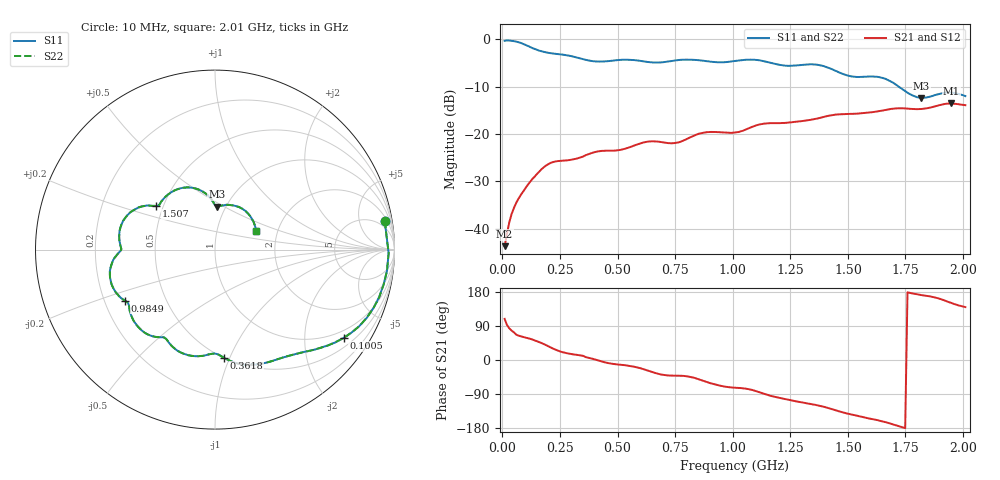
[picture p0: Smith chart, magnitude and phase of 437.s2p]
# MHz S MA R 50
!  freq  S11  S21  S12  S22
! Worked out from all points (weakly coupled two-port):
!   200 points, 10 MHz to 2.01 GHz, reference 50 ohm
!   highest |S21| = -13.57 dB at 1.95 GHz (marker M1); lowest = -43.7 dB at 10 MHz (marker M2)
!   lowest |S11| = -12.4 dB at 1.819 GHz (marker M3), VSWR 1.63, Z = 45.4 + j23.1 ohm
!   |S11| at or under -10 dB: 1.72 GHz to end of sweep
!   |S22| runs from -12.4 to -0.3 dB; largest |S21 - S12| = 0.0012
!   S11 on the Smith chart (normalised r, x): 10 MHz: 3, +11; 100.5 MHz: 0.76, -3.05; 361.8 MHz: 0.50, -0.95; 984.9 MHz: 0.28, -0.24; 1.507 GHz: 0.46, +0.27; 2.01 GHz: 1.54, +0.35
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10  0.9589 9.4  0.00656 108.6  0.00659 108.3  0.9587 9.4
20.05025  0.9674 -1.1  0.00882 92.7  0.00881 93.0  0.9677 -1.1
40.15075  0.9592 -11.8  0.01427 77.7  0.01425 77.6  0.9594 -11.8
100.4523  0.8689 -34.5  0.02681 59.2  0.02685 59.3  0.8699 -34.5
200.9548  0.7156 -56.3  0.04824 35.8  0.04825 35.7  0.7151 -56.3
351.7085  0.6128 -84.1  0.05792 10.8  0.0579 10.8  0.613 -84.1
361.7588  0.6046 -85.3  0.05976 7.7  0.05974 7.7  0.6048 -85.3
532.6131  0.6075 -103.8  0.06988 -13.8  0.0699 -13.8  0.6067 -103.9
683.3668  0.5666 -120.4  0.08259 -37.5  0.08262 -37.6  0.5669 -120.4
753.7186  0.5967 -126.2  0.08063 -41.5  0.08045 -41.5  0.5976 -126.3
844.1709  0.6018 -139.1  0.09877 -49.2  0.09875 -49.1  0.6019 -139.0
984.8744  0.5775 -150.5  0.1027 -71.8  0.1028 -71.7  0.5763 -150.4
1015.025  0.5897 -152.9  0.1038 -73.4  0.1038 -73.3  0.5898 -153.0
1115.528  0.5981 -168.4  0.1258 -85.1  0.1258 -85.1  0.598 -168.4
1346.683  0.5414 166.7  0.1422 -117.2  0.1423 -117.2  0.541 166.9
1417.035  0.4959 152.8  0.1556 -127.1  0.1557 -127.3  0.4961 152.7
1507.487  0.4081 143.3  0.1626 -142.9  0.1624 -142.8  0.4083 143.4
1597.94  0.4036 132.6  0.1689 -155.1  0.1689 -155.0  0.4036 132.6
1678.342  0.3662 109.9  0.182 -166.7  0.1817 -166.4  0.3664 110.1
1819.045  0.2401 87.6  0.1833 171.3  0.1833 171.5  0.2405 88.0
1949.698  0.2728 48.0  0.2097 150.5  0.2093 150.4  0.2729 47.9
2010  0.2508 24.8  0.201 139.6  0.2011 139.6  0.2504 24.5
